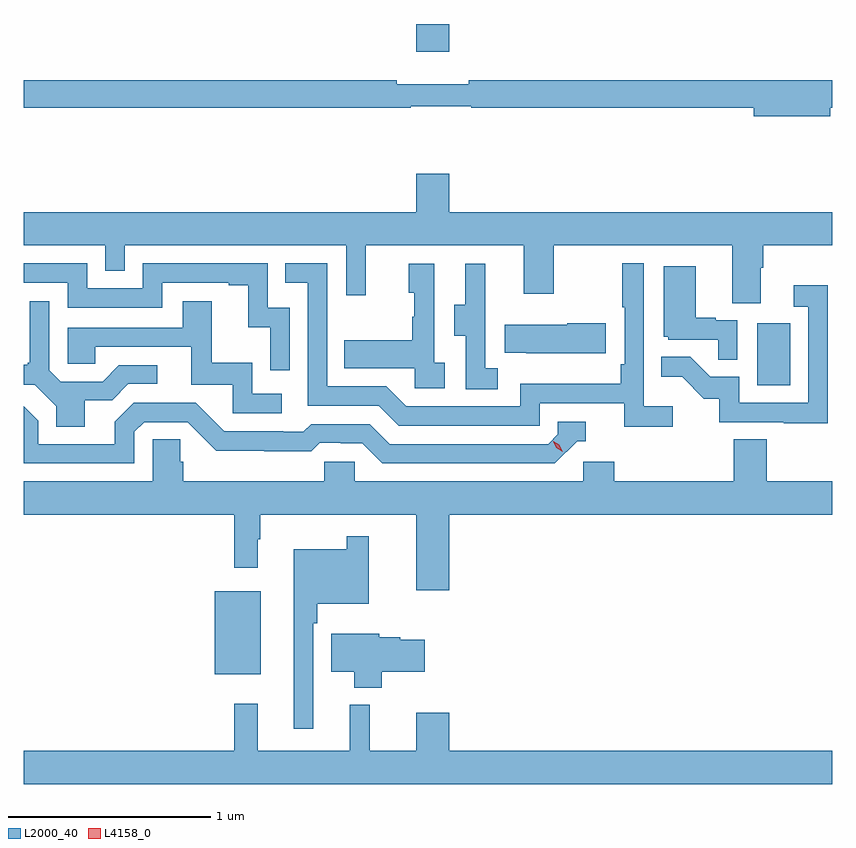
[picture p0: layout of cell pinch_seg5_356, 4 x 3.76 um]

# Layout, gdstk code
import gdstk
lib = gdstk.Library(unit=1e-6, precision=1e-09)
def R(c, l, rs):  # rectangles x0, y0, x1, y1
    for r in rs: c.add(gdstk.rectangle(r[:2], r[2:], *l))
def P(c, l, *ps):  # polygons
    for p in ps: c.add(gdstk.Polygon(p, *l))
L2000_40 = (2000, 40)
L4158_0 = (4158, 0)

pinch_seg5_356 = lib.new_cell('pinch_seg5_356')
R(pinch_seg5_356, L2000_40, [(967.208,889.271,967.435,889.681), (969.89,890.7,970.054,891.007), (968.204,892.35,968.368,892.486)])
P(pinch_seg5_356, L2000_40, [(970.252,892.072),(970.262,892.072),(970.262,892.208),(968.464,892.208),(968.464,892.189),(968.108,892.189),(968.108,892.208),(966.262,892.208),(966.262,892.072),(968.176,892.072),(968.176,892.08),(968.476,892.08),(968.476,892.072),(969.872,892.072),(969.872,892.03),(970.252,892.03)],
  [(969.907,891.28),(969.92,891.28),(969.92,891.392),(970.262,891.392),(970.262,891.556),(968.368,891.556),(968.368,891.745),(968.204,891.745),(968.204,891.556),(966.262,891.556),(966.262,891.392),(966.666,891.392),(966.666,891.265),(966.762,891.265),(966.762,891.392),(967.857,891.392),(967.857,891.144),(967.955,891.144),(967.955,891.392),(968.735,891.392),(968.735,891.153),(968.883,891.153),(968.883,891.392),(969.767,891.392),(969.767,891.106),(969.907,891.106)],
  [(969.472,890.596),(969.33,890.596),(969.33,891.304),(969.222,891.304),(969.222,891.085),(969.234,891.085),(969.234,890.803),(969.214,890.803),(969.214,890.707),(968.718,890.707),(968.718,890.595),(968.154,890.595),(968.055,890.694),(967.764,890.694),(967.764,891.303),(967.555,891.303),(967.555,891.207),(967.668,891.207),(967.668,890.598),(968.018,890.598),(968.117,890.499),(968.814,890.499),(968.814,890.61),(969.233,890.61),(969.233,890.494),(969.472,890.494)],
  [(967.578,891.084),(967.47,891.084),(967.47,891.303),(966.852,891.303),(966.852,891.18),(966.576,891.18),(966.576,891.303),(966.262,891.303),(966.262,891.207),(966.48,891.207),(966.48,891.084),(966.948,891.084),(966.948,891.207),(967.277,891.207),(967.277,891.195),(967.373,891.195),(967.373,890.987),(967.482,890.987),(967.482,890.775),(967.578,890.775)],
  [(968.344,890.81),(968.292,890.81),(968.292,891.301),(968.168,891.301),(968.168,891.156),(968.194,891.156),(968.194,891.038),(968.184,891.038),(968.184,890.923),(967.849,890.923),(967.849,890.783),(968.196,890.783),(968.196,890.685),(968.344,890.685)],
  [(968.608,890.783),(968.544,890.783),(968.544,891.087),(968.546,891.087),(968.546,891.301),(968.447,891.301),(968.447,891.099),(968.393,891.099),(968.393,890.944),(968.448,890.944),(968.448,890.68),(968.608,890.68)],
  [(969.792,891.021),(969.686,891.021),(969.686,891.034),(969.586,891.034),(969.586,891.289),(969.428,891.289),(969.428,890.94),(969.45,890.94),(969.45,890.925),(969.697,890.925),(969.697,890.827),(969.792,890.827)],
  [(970.239,891.193),(970.071,891.193),(970.071,891.087),(970.143,891.087),(970.143,890.613),(969.801,890.613),(969.801,890.742),(969.657,890.742),(969.559,890.84),(969.415,890.84),(969.415,890.741),(969.519,890.741),(969.626,890.634),(969.703,890.634),(969.703,890.517),(970.021,890.517),(970.021,890.512),(970.239,890.512)],
  [(966.565,890.626),(966.7,890.626),(966.78,890.706),(966.922,890.706),(966.922,890.799),(966.734,890.799),(966.653,890.718),(966.447,890.718),(966.39,890.775),(966.39,891.115),(966.293,891.115),(966.293,890.812),(966.282,890.812),(966.282,890.8),(966.262,890.8),(966.262,890.703),(966.318,890.703),(966.425,890.596),(966.425,890.494),(966.565,890.494)],
  [(967.54,890.658),(967.392,890.658),(967.392,890.812),(967.193,890.812),(967.193,891.115),(967.049,891.115),(967.049,890.985),(966.48,890.985),(966.48,890.805),(966.617,890.805),(966.617,890.889),(967.091,890.889),(967.091,890.703),(967.296,890.703),(967.296,890.562),(967.54,890.562)],
  [(969.142,891.006),(968.951,891.006),(968.951,890.998),(968.641,890.998),(968.641,890.861),(968.749,890.861),(968.749,890.858),(969.142,890.858)],
  [(966.81,890.469),(966.858,890.517),(967.074,890.517),(967.216,890.375),(967.452,890.375),(967.452,890.373),(967.685,890.373),(967.727,890.415),(967.83,890.415),(967.83,890.412),(967.937,890.412),(968.036,890.313),(968.889,890.313),(969,890.424),(969.043,890.424),(969.043,890.52),(968.904,890.52),(968.904,890.457),(968.856,890.409),(968.073,890.409),(967.974,890.508),(967.685,890.508),(967.646,890.469),(967.547,890.469),(967.547,890.472),(967.254,890.472),(967.113,890.613),(966.807,890.613),(966.713,890.519),(966.713,890.409),(966.336,890.409),(966.336,890.523),(966.262,890.597),(966.262,890.313),(966.81,890.313)],
  [(968.368,890.06),(970.262,890.06),(970.262,890.224),(969.938,890.224),(969.938,890.432),(969.773,890.432),(969.773,890.224),(969.182,890.224),(969.182,890.322),(969.03,890.322),(969.03,890.224),(967.899,890.224),(967.899,890.322),(967.749,890.322),(967.749,890.224),(967.052,890.224),(967.052,890.322),(967.037,890.322),(967.037,890.432),(966.9,890.432),(966.9,890.224),(966.262,890.224),(966.262,890.06),(967.303,890.06),(967.303,889.797),(967.42,889.797),(967.42,889.937),(967.432,889.937),(967.432,890.06),(968.204,890.06),(968.204,889.686),(968.368,889.686)],
  [(967.695,889.523),(967.715,889.523),(967.715,889.619),(967.968,889.619),(967.968,889.954),(967.86,889.954),(967.86,889.888),(967.598,889.888),(967.598,889.002),(967.695,889.002)],
  [(968.033,889.283),(968.245,889.283),(968.245,889.441),(968.124,889.441),(968.124,889.454),(968.02,889.454),(968.02,889.471),(967.784,889.471),(967.784,889.283),(967.898,889.283),(967.898,889.205),(968.033,889.205)],
  [(970.262,888.892),(968.368,888.892),(968.368,889.081),(968.204,889.081),(968.204,888.892),(967.974,888.892),(967.974,889.12),(967.874,889.12),(967.874,888.892),(967.421,888.892),(967.421,889.126),(967.303,889.126),(967.303,888.892),(966.262,888.892),(966.262,888.728),(970.262,888.728)])
P(pinch_seg5_356, L4158_0, [(968.928,890.372),(968.897,890.391),(968.881,890.423),(968.881,890.424),(968.881,890.424),(968.912,890.405),(968.928,890.372),(968.928,890.372)])

lib.write_gds('pinch_seg5_356.gds')
